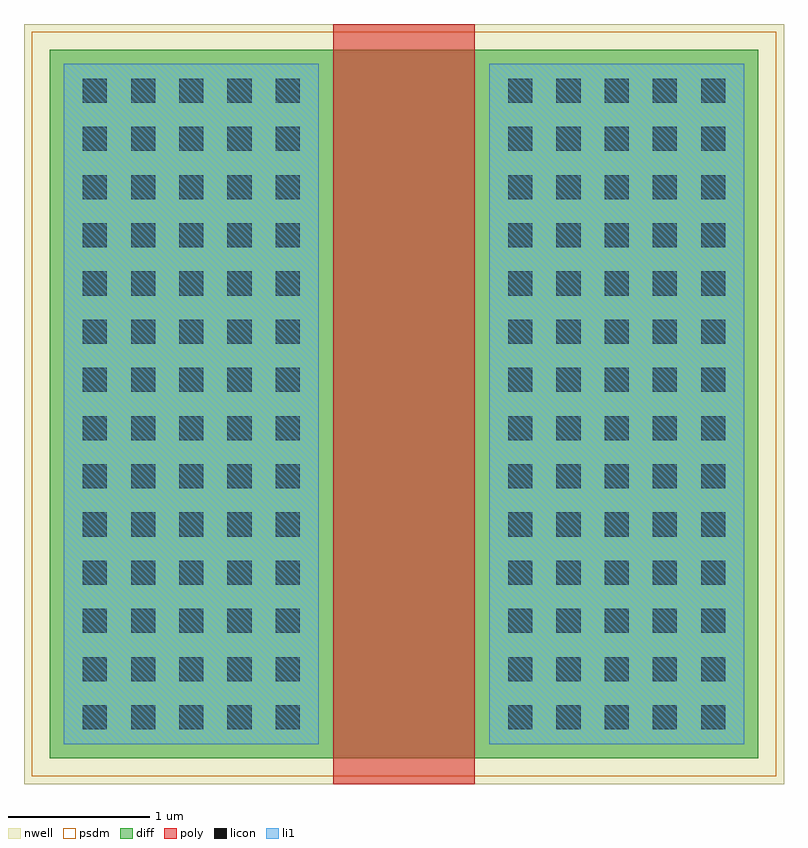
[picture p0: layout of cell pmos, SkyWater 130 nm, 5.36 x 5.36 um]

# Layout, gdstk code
import gdstk
lib = gdstk.Library(unit=1e-6, precision=1e-09)
def R(c, l, rs):  # rectangles x0, y0, x1, y1
    for r in rs: c.add(gdstk.rectangle(r[:2], r[2:], *l))
def A(c, l, x, y, w, h, nx, ny, dx, dy):  # array of equal rectangles
    R(c, l, [(x+i*dx, y+j*dy, x+i*dx+w, y+j*dy+h) for i in range(nx) for j in range(ny)])
nwell = (64, 20)
diff = (65, 20)
poly = (66, 20)
licon = (66, 44)
li1 = (67, 20)
psdm = (94, 20)

pmos = lib.new_cell('pmos')
R(pmos, nwell, [(-0.18,-5.18,5.18,0.18)])
R(pmos, diff, [(0,-5,5,0)])
R(pmos, poly, [(2,-5.18,3,0.18)])
A(pmos, licon, 0.235, -4.795, 0.17, 0.17, 5, 14, 0.34, 0.34)
A(pmos, licon, 3.235, -4.795, 0.17, 0.17, 5, 14, 0.34, 0.34)
R(pmos, li1, [(0.1,-4.9,1.9,-0.1), (3.1,-4.9,4.9,-0.1)])
R(pmos, psdm, [(-0.125,-5.125,5.125,0.125)])

lib.write_gds('pmos.gds')
